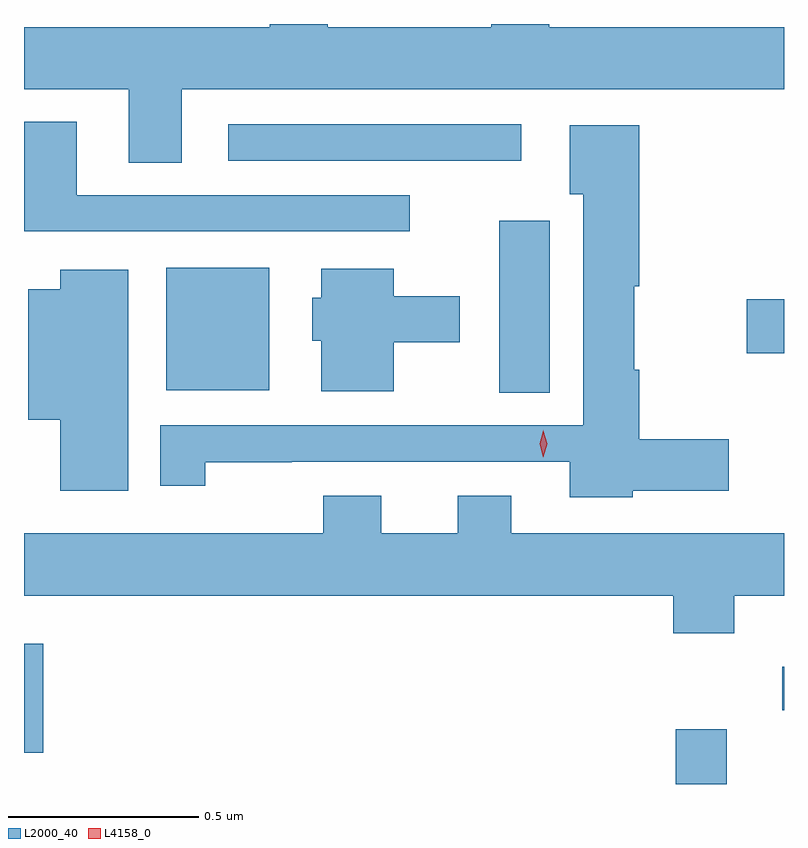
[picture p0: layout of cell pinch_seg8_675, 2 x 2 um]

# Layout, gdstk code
import gdstk
lib = gdstk.Library(unit=1e-6, precision=1e-09)
def R(c, l, rs):  # rectangles x0, y0, x1, y1
    for r in rs: c.add(gdstk.rectangle(r[:2], r[2:], *l))
def P(c, l, *ps):  # polygons
    for p in ps: c.add(gdstk.Polygon(p, *l))
L2000_40 = (2000, 40)
L4158_0 = (4158, 0)

pinch_seg8_675 = lib.new_cell('pinch_seg8_675')
R(pinch_seg8_675, L2000_40, [(335.423,1092.028,335.557,1092.172), (333.708,1092.11,333.758,1092.397), (335.704,1092.222,335.708,1092.336), (334.958,1093.057,335.092,1093.51), (334.082,1093.064,334.354,1093.387), (335.61,1093.162,335.708,1093.304), (334.245,1093.668,335.017,1093.764)])
P(pinch_seg8_675, L2000_40, [(334.123,1093.856),(335.708,1093.856),(335.708,1094.02),(335.09,1094.02),(335.09,1094.028),(334.937,1094.028),(334.937,1094.02),(334.507,1094.02),(334.507,1094.028),(334.355,1094.028),(334.355,1094.02),(333.708,1094.02),(333.708,1093.856),(333.983,1093.856),(333.983,1093.663),(334.123,1093.663)],
  [(334.723,1093.578),(333.847,1093.578),(333.847,1093.771),(333.708,1093.771),(333.708,1093.482),(334.723,1093.482)],
  [(335.31,1092.8),(335.563,1092.8),(335.563,1092.935),(335.327,1092.935),(335.327,1093.118),(335.314,1093.118),(335.314,1093.338),(335.327,1093.338),(335.327,1093.762),(335.144,1093.762),(335.144,1093.58),(335.18,1093.58),(335.18,1092.972),(334.067,1092.972),(334.067,1092.813),(334.185,1092.813),(334.185,1092.875),(334.412,1092.875),(334.412,1092.876),(335.144,1092.876),(335.144,1092.782),(335.31,1092.782)],
  [(334.681,1093.19),(334.855,1093.19),(334.855,1093.312),(334.681,1093.312),(334.681,1093.384),(334.49,1093.384),(334.49,1093.308),(334.466,1093.308),(334.466,1093.194),(334.49,1093.194),(334.49,1093.061),(334.681,1093.061)],
  [(333.982,1093.381),(333.803,1093.381),(333.803,1093.33),(333.719,1093.33),(333.719,1092.986),(333.803,1092.986),(333.803,1092.8),(333.982,1092.8)],
  [(335.577,1092.524),(335.708,1092.524),(335.708,1092.688),(334.99,1092.688),(334.99,1092.787),(334.85,1092.787),(334.85,1092.688),(334.648,1092.688),(334.648,1092.787),(334.496,1092.787),(334.496,1092.688),(333.708,1092.688),(333.708,1092.524),(335.417,1092.524),(335.417,1092.425),(335.577,1092.425)])
P(pinch_seg8_675, L4158_0, [(335.075,1092.888),(335.075,1092.888),(335.065,1092.923),(335.075,1092.958),(335.075,1092.959),(335.075,1092.958),(335.085,1092.923),(335.075,1092.888)])

lib.write_gds('pinch_seg8_675.gds')
